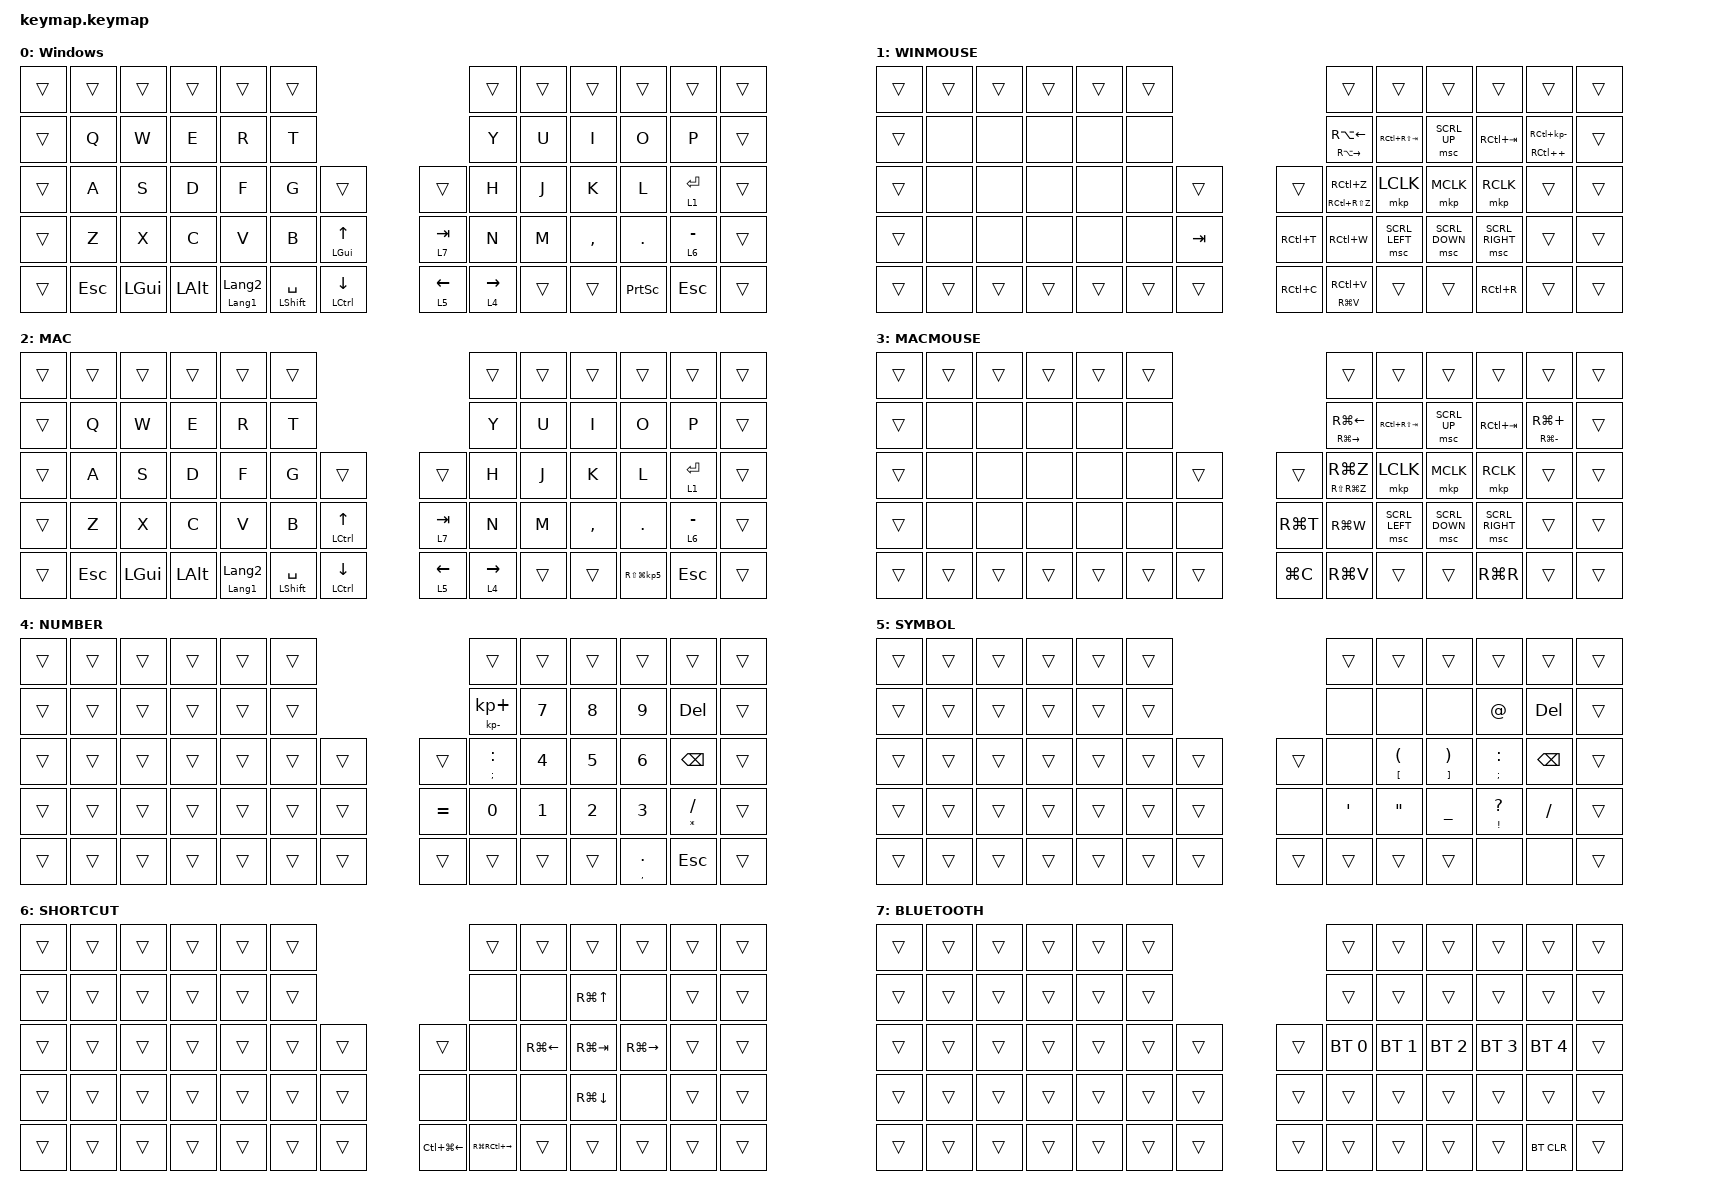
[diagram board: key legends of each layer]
#include <behaviors.dtsi>
#include <dt-bindings/zmk/bt.h>
#include <dt-bindings/zmk/keys.h>
#include <dt-bindings/zmk/pointing.h>

/ {
    combos {
        compatible = "zmk,combos";

        bt_clear {
            bindings = <&bt BT_CLR>;
            key-positions = <28 29>;
            layers = <1>;
        };
    };

    behaviors {
        new_behavior: new_behavior {
            compatible = "zmk,behavior-input-two-axis";
            label = "NEW_BEHAVIOR";
            #binding-cells = <1>;
            x-input-code = <9>;
            y-input-code = <8>;
            trigger-period-ms = <16>;
            time-to-max-speed-ms = <300>;
            acceleration-exponent = <1>;
        };
    };

    keymap {
        compatible = "zmk,keymap";

        Windows {
            bindings = <
&trans  &trans      &trans    &trans    &trans                     &trans                                                   &trans       &trans  &trans     &trans           &trans       &trans
&trans  &kp Q       &kp W     &kp E     &kp R                      &kp T                                                    &kp Y        &kp U   &kp I      &kp O            &kp P        &trans
&trans  &kp A       &kp S     &kp D     &kp F                      &kp G                 &trans                 &trans      &kp H        &kp J   &kp K      &kp L            &lt 1 ENTER  &trans
&trans  &kp Z       &kp X     &kp C     &kp V                      &kp B                 &mt LEFT_GUI UP_ARROW  &lt 7 TAB   &kp N        &kp M   &kp COMMA  &kp DOT          &lt 6 MINUS  &trans
&trans  &kp ESCAPE  &kp LGUI  &kp LALT  &mt LANGUAGE_1 LANGUAGE_2  &mt LEFT_SHIFT SPACE  &mt LEFT_CONTROL DOWN  &lt 5 LEFT  &lt 4 RIGHT  &trans  &trans     &kp PRINTSCREEN  &kp ESCAPE   &trans
            >;
        };

        WINMOUSE {
            bindings = <
&trans  &trans  &trans  &trans  &trans  &trans                      &trans                              &trans           &trans          &trans           &trans                     &trans
&trans  &none   &none   &none   &none   &none                       &mt RA(RIGHT_ARROW) RA(LEFT_ARROW)  &kp RC(RS(TAB))  &msc SCRL_UP    &kp RC(TAB)      &mt RC(PLUS) RC(KP_MINUS)  &trans
&trans  &none   &none   &none   &none   &none   &trans   &trans     &mt RC(RS(Z)) RC(Z)                 &mkp LCLK        &mkp MCLK       &mkp RCLK        &trans                     &trans
&trans  &none   &none   &none   &none   &none   &kp TAB  &kp RC(T)  &kp RC(W)                           &msc SCRL_LEFT   &msc SCRL_DOWN  &msc SCRL_RIGHT  &trans                     &trans
&trans  &trans  &trans  &trans  &trans  &trans  &trans   &kp RC(C)  &mt RG(V) RC(V)                     &trans           &trans          &kp RC(R)        &trans                     &trans
            >;
        };

        MAC {
            bindings = <
&trans  &trans      &trans    &trans    &trans                     &trans                                                       &trans       &trans  &trans     &trans                   &trans       &trans
&trans  &kp Q       &kp W     &kp E     &kp R                      &kp T                                                        &kp Y        &kp U   &kp I      &kp O                    &kp P        &trans
&trans  &kp A       &kp S     &kp D     &kp F                      &kp G                 &trans                     &trans      &kp H        &kp J   &kp K      &kp L                    &lt 1 ENTER  &trans
&trans  &kp Z       &kp X     &kp C     &kp V                      &kp B                 &mt LEFT_CONTROL UP_ARROW  &lt 7 TAB   &kp N        &kp M   &kp COMMA  &kp DOT                  &lt 6 MINUS  &trans
&trans  &kp ESCAPE  &kp LGUI  &kp LALT  &mt LANGUAGE_1 LANGUAGE_2  &mt LEFT_SHIFT SPACE  &mt LEFT_CONTROL DOWN      &lt 5 LEFT  &lt 4 RIGHT  &trans  &trans     &kp RS(LG(KP_NUMBER_5))  &kp ESCAPE   &trans
            >;
        };

        MACMOUSE {
            bindings = <
&trans  &trans  &trans  &trans  &trans  &trans                     &trans                              &trans           &trans          &trans           &trans                  &trans
&trans  &none   &none   &none   &none   &none                      &mt RG(RIGHT_ARROW) RG(LEFT_ARROW)  &kp RC(RS(TAB))  &msc SCRL_UP    &kp RC(TAB)      &mt RG(MINUS) RG(PLUS)  &trans
&trans  &none   &none   &none   &none   &none   &trans  &trans     &mt RS(RG(Z)) RG(Z)                 &mkp LCLK        &mkp MCLK       &mkp RCLK        &trans                  &trans
&trans  &none   &none   &none   &none   &none   &none   &kp RG(T)  &kp RG(W)                           &msc SCRL_LEFT   &msc SCRL_DOWN  &msc SCRL_RIGHT  &trans                  &trans
&trans  &trans  &trans  &trans  &trans  &trans  &trans  &kp LG(C)  &kp RG(V)                           &trans           &trans          &kp RG(R)        &trans                  &trans
            >;
        };

        NUMBER {
            bindings = <
&trans  &trans  &trans  &trans  &trans  &trans                     &trans                &trans        &trans        &trans            &trans              &trans
&trans  &trans  &trans  &trans  &trans  &trans                     &mt KP_MINUS KP_PLUS  &kp NUMBER_7  &kp NUMBER_8  &kp NUMBER_9      &kp DELETE          &trans
&trans  &trans  &trans  &trans  &trans  &trans  &trans  &trans     &mt SEMICOLON COLON   &kp NUMBER_4  &kp NUMBER_5  &kp NUMBER_6      &kp BACKSPACE       &trans
&trans  &trans  &trans  &trans  &trans  &trans  &trans  &kp EQUAL  &kp NUMBER_0          &kp NUMBER_1  &kp NUMBER_2  &kp NUMBER_3      &mt ASTERISK SLASH  &trans
&trans  &trans  &trans  &trans  &trans  &trans  &trans  &trans     &trans                &trans        &trans        &mt COMMA PERIOD  &kp ESCAPE          &trans
            >;
        };

        SYMBOL {
            bindings = <
&trans  &trans  &trans  &trans  &trans  &trans                  &trans            &trans                             &trans                               &trans                    &trans         &trans
&trans  &trans  &trans  &trans  &trans  &trans                  &none             &none                              &none                                &kp AT_SIGN               &kp DELETE     &trans
&trans  &trans  &trans  &trans  &trans  &trans  &trans  &trans  &none             &mt LEFT_BRACKET LEFT_PARENTHESIS  &mt RIGHT_BRACKET RIGHT_PARENTHESIS  &mt SEMICOLON COLON       &kp BACKSPACE  &trans
&trans  &trans  &trans  &trans  &trans  &trans  &trans  &none   &kp SINGLE_QUOTE  &kp DQT                            &kp UNDER                            &mt EXCLAMATION QUESTION  &kp SLASH      &trans
&trans  &trans  &trans  &trans  &trans  &trans  &trans  &trans  &trans            &trans                             &trans                               &none                     &none          &trans
            >;
        };

        SHORTCUT {
            bindings = <
&trans  &trans  &trans  &trans  &trans  &trans                                  &trans             &trans              &trans              &trans         &trans  &trans
&trans  &trans  &trans  &trans  &trans  &trans                                  &none              &none               &kp RG(UP_ARROW)    &none          &trans  &trans
&trans  &trans  &trans  &trans  &trans  &trans  &trans  &trans                  &none              &kp RG(LEFT_ARROW)  &kp RG(TAB)         &kp RG(RIGHT)  &trans  &trans
&trans  &trans  &trans  &trans  &trans  &trans  &trans  &none                   &none              &none               &kp RG(DOWN_ARROW)  &none          &trans  &trans
&trans  &trans  &trans  &trans  &trans  &trans  &trans  &kp LC(LG(LEFT_ARROW))  &kp RG(RC(RIGHT))  &trans              &trans              &trans         &trans  &trans
            >;
        };

        BLUETOOTH {
            bindings = <
&trans  &trans  &trans  &trans  &trans  &trans                  &trans        &trans        &trans        &trans        &trans        &trans
&trans  &trans  &trans  &trans  &trans  &trans                  &trans        &trans        &trans        &trans        &trans        &trans
&trans  &trans  &trans  &trans  &trans  &trans  &trans  &trans  &bt BT_SEL 0  &bt BT_SEL 1  &bt BT_SEL 2  &bt BT_SEL 3  &bt BT_SEL 4  &trans
&trans  &trans  &trans  &trans  &trans  &trans  &trans  &trans  &trans        &trans        &trans        &trans        &trans        &trans
&trans  &trans  &trans  &trans  &trans  &trans  &trans  &trans  &trans        &trans        &trans        &trans        &bt BT_CLR    &trans
            >;
        };
    };
};
